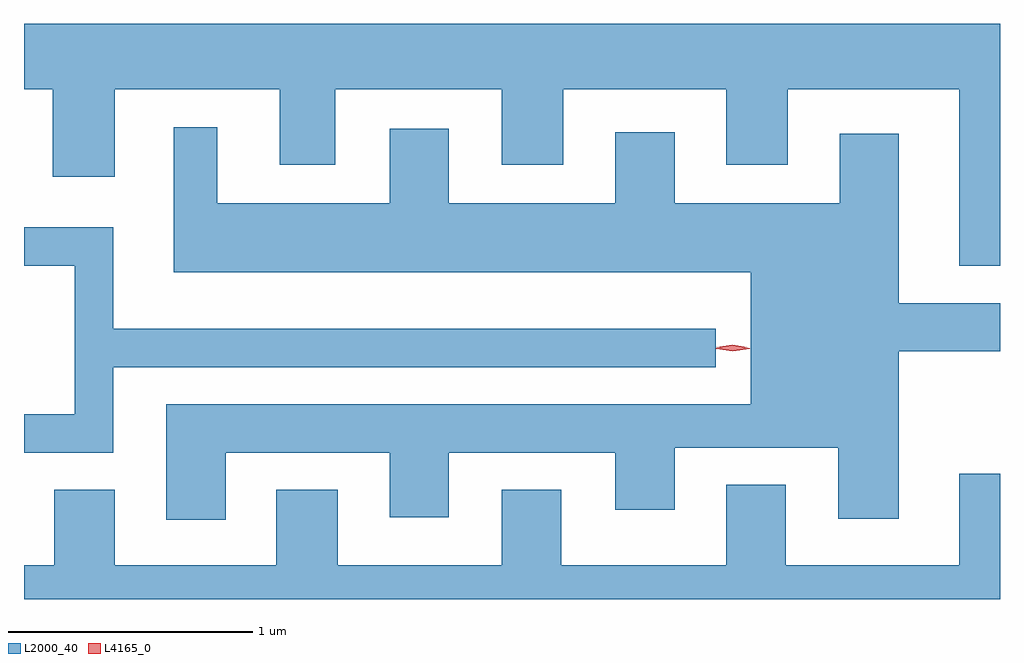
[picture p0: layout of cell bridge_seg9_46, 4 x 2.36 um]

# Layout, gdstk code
import gdstk
lib = gdstk.Library(unit=1e-6, precision=1e-09)
def P(c, l, *ps):  # polygons
    for p in ps: c.add(gdstk.Polygon(p, *l))
L2000_40 = (2000, 40)
L4165_0 = (4165, 0)

bridge_seg9_46 = lib.new_cell('bridge_seg9_46')
P(bridge_seg9_46, L2000_40, [(1507.473,1985.424),(1503.473,1985.424),(1503.473,1985.156),(1503.591,1985.156),(1503.591,1984.796),(1503.844,1984.796),(1503.844,1985.156),(1504.521,1985.156),(1504.521,1984.846),(1504.749,1984.846),(1504.749,1985.156),(1505.431,1985.156),(1505.431,1984.846),(1505.684,1984.846),(1505.684,1985.156),(1506.351,1985.156),(1506.351,1984.846),(1506.604,1984.846),(1506.604,1985.156),(1507.306,1985.156),(1507.306,1984.431),(1507.473,1984.431)],
  [(1504.299,1983.666),(1504.971,1983.666),(1504.971,1983.401),(1505.214,1983.401),(1505.214,1983.666),(1505.896,1983.666),(1505.896,1983.431),(1506.139,1983.431),(1506.139,1983.686),(1506.811,1983.686),(1506.811,1983.396),(1507.059,1983.396),(1507.059,1984.081),(1507.473,1984.081),(1507.473,1984.279),(1507.059,1984.279),(1507.059,1984.974),(1506.816,1984.974),(1506.816,1984.689),(1506.139,1984.689),(1506.139,1984.979),(1505.896,1984.979),(1505.896,1984.689),(1505.214,1984.689),(1505.214,1984.994),(1504.971,1984.994),(1504.971,1984.689),(1504.264,1984.689),(1504.264,1984.999),(1504.086,1984.999),(1504.086,1984.406),(1506.451,1984.406),(1506.451,1983.864),(1504.056,1983.864),(1504.056,1983.391),(1504.299,1983.391)],
  [(1503.839,1984.016),(1506.308,1984.016),(1506.308,1984.174),(1503.839,1984.174),(1503.839,1984.589),(1503.473,1984.589),(1503.473,1984.431),(1503.681,1984.431),(1503.681,1983.824),(1503.473,1983.824),(1503.473,1983.666),(1503.839,1983.666)],
  [(1507.473,1983.579),(1507.306,1983.579),(1507.306,1983.204),(1506.594,1983.204),(1506.594,1983.534),(1506.351,1983.534),(1506.351,1983.204),(1505.674,1983.204),(1505.674,1983.514),(1505.431,1983.514),(1505.431,1983.204),(1504.759,1983.204),(1504.759,1983.514),(1504.506,1983.514),(1504.506,1983.204),(1503.844,1983.204),(1503.844,1983.514),(1503.596,1983.514),(1503.596,1983.204),(1503.473,1983.204),(1503.473,1983.065),(1507.473,1983.065)])
P(bridge_seg9_46, L4165_0, [(1506.378,1984.082),(1506.31,1984.092),(1506.309,1984.092),(1506.31,1984.093),(1506.378,1984.102),(1506.447,1984.093),(1506.447,1984.092),(1506.447,1984.092)],
  [(1506.376,1984.088),(1506.313,1984.097),(1506.313,1984.098),(1506.313,1984.098),(1506.375,1984.108),(1506.437,1984.099),(1506.438,1984.098),(1506.437,1984.098)])

lib.write_gds('bridge_seg9_46.gds')
